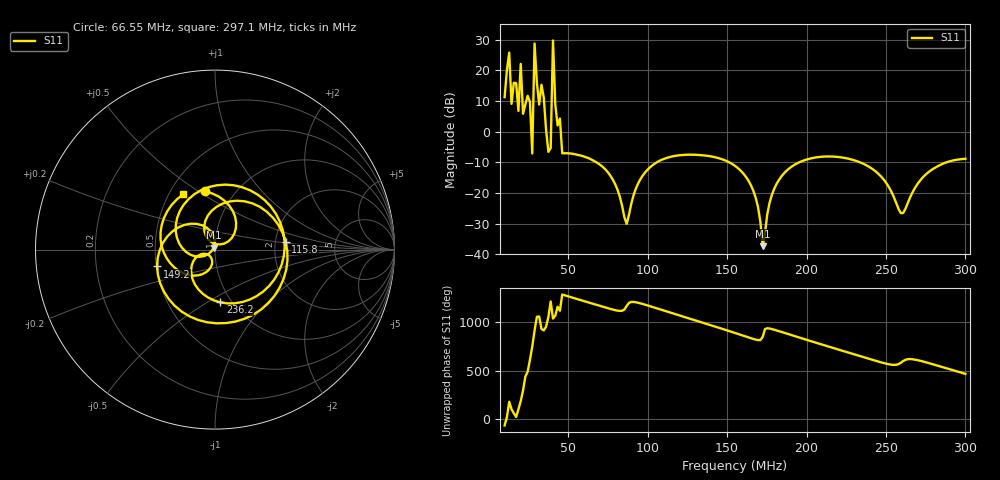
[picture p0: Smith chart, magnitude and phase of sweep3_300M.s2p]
!Agilent Technologies,E8364B,US42250162,A.07.50.67
!Agilent E8364B: A.07.50.67
!Date: Friday, June 23, 2023 11:00:43
!Correction: S11(Off)
!S21(Off)
!S12(Off)
!S22(Off)
!S2P File: Measurements: S11, S21, S12, S22:
# Hz S  RI  R 50
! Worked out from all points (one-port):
!   201 points, 10 MHz to 300 MHz, reference 50 ohm
!   lowest |S11| = -37.4 dB at 172.4 MHz (marker M1), VSWR 1.03, Z = 49.2 + j1.1 ohm
!   |S11| at or under -10 dB: 67.71 MHz to 105.8 MHz (38.08 MHz wide, 43.9 % of centre); 151.3 MHz to 195.5 MHz (44.15 MHz wide, 25.5 % of centre); 233.6 MHz to 288.2 MHz (54.53 MHz wide, 20.9 % of centre)
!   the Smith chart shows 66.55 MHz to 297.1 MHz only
!   S11 on the Smith chart (normalised r, x): 66.55 MHz: 0.73, +0.53; 115.8 MHz: 2.28, +0.24; 149.2 MHz: 0.50, -0.11; 236.2 MHz: 0.89, -0.57; 297.1 MHz: 0.59, +0.41
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1e7  1.714 -3.225  7.07e-11 7.07e-11  7.07e-11 7.07e-11  7.07e-11 7.07e-11
1.145e7  9.294 4.032  7.07e-11 7.07e-11  7.07e-11 7.07e-11  7.07e-11 7.07e-11
1.29e7  -19.51 -0.3903  7.07e-11 7.07e-11  7.07e-11 7.07e-11  7.07e-11 7.07e-11
1.725e7  5.594 2.614  7.07e-11 7.07e-11  7.07e-11 7.07e-11  7.07e-11 7.07e-11
2.74e7  0.3965 0.1901  7.07e-11 7.07e-11  7.07e-11 7.07e-11  7.07e-11 7.07e-11
2.885e7  -27.02 -5.038  7.07e-11 7.07e-11  7.07e-11 7.07e-11  7.07e-11 7.07e-11
3.03e7  5.524 -3.083  7.07e-11 7.07e-11  7.07e-11 7.07e-11  7.07e-11 7.07e-11
3.9e7  -0.3351 0.4218  7.07e-11 7.07e-11  7.07e-11 7.07e-11  7.07e-11 7.07e-11
4.045e7  21.04 -22.54  7.07e-11 7.07e-11  7.07e-11 7.07e-11  7.07e-11 7.07e-11
4.335e7  0.342 1.217  7.07e-11 7.07e-11  7.07e-11 7.07e-11  7.07e-11 7.07e-11
5.93e7  -0.2812 0.2816  7.07e-11 7.07e-11  7.07e-11 7.07e-11  7.07e-11 7.07e-11
6.655e7  -0.0561 0.3247  7.07e-11 7.07e-11  7.07e-11 7.07e-11  7.07e-11 7.07e-11
1.0715e8  0.2077 0.2578  7.07e-11 7.07e-11  7.07e-11 7.07e-11  7.07e-11 7.07e-11
1.1585e8  0.3937 0.044  7.07e-11 7.07e-11  7.07e-11 7.07e-11  7.07e-11 7.07e-11
1.492e8  -0.3225 -0.0936  7.07e-11 7.07e-11  7.07e-11 7.07e-11  7.07e-11 7.07e-11
1.55e8  -0.2668 0.0718  7.07e-11 7.07e-11  7.07e-11 7.07e-11  7.07e-11 7.07e-11
1.724e8  -0.00763 0.0111  7.07e-11 7.07e-11  7.07e-11 7.07e-11  7.07e-11 7.07e-11
2.043e8  0.1042 0.3585  7.07e-11 7.07e-11  7.07e-11 7.07e-11  7.07e-11 7.07e-11
2.362e8  0.0299 -0.2941  7.07e-11 7.07e-11  7.07e-11 7.07e-11  7.07e-11 7.07e-11
2.5215e8  -0.1101 -0.0488  7.07e-11 7.07e-11  7.07e-11 7.07e-11  7.07e-11 7.07e-11
2.971e8  -0.1786 0.3073  7.07e-11 7.07e-11  7.07e-11 7.07e-11  7.07e-11 7.07e-11
3e8  -0.1005 0.3464  7.07e-11 7.07e-11  7.07e-11 7.07e-11  7.07e-11 7.07e-11
